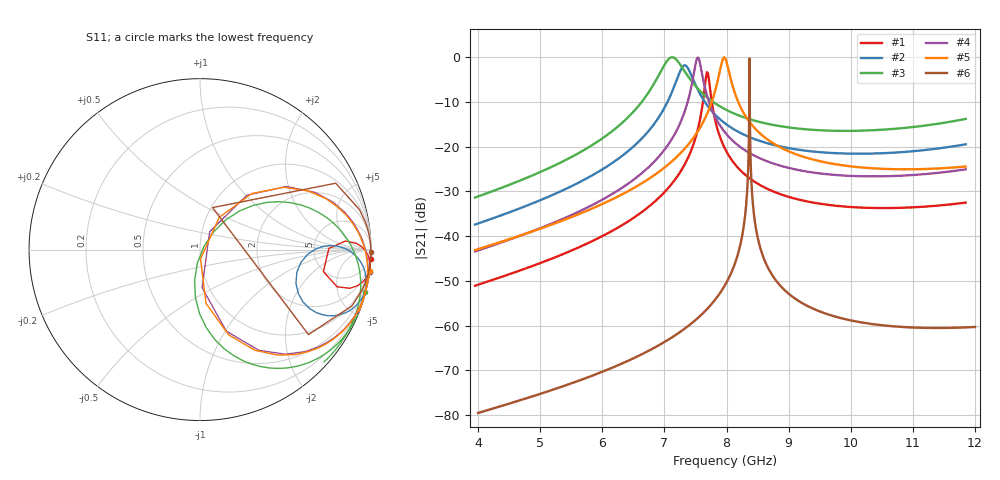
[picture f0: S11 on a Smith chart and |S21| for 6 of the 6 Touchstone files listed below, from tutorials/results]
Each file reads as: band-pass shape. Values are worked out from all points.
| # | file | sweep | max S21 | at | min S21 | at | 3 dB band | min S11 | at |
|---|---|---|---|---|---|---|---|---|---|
| 1 | cpw_7mm_cc20_50_hfss.s2p | 3.95 GHz to 11.85 GHz | -3.35 dB | 7.683 GHz | -51.1 dB | 3.95 GHz | 7.663 GHz-7.722 GHz | -2.7 dB | 7.683 GHz |
| 2 | cpw_7mm_cc50_100_hfss.s2p | 3.95 GHz to 11.85 GHz | -1.80 dB | 7.327 GHz | -37.4 dB | 3.95 GHz | 7.209 GHz-7.446 GHz | -4.7 dB | 7.327 GHz |
| 3 | cpw_7mm_cc100_hfss.s2p | 3.95 GHz to 11.85 GHz | 0.00 dB | 7.13 GHz | -31.4 dB | 3.95 GHz | 6.952 GHz-7.308 GHz | -30.1 dB | 7.13 GHz |
| 4 | cpw_7mm_ctog_hfss.s2p | 3.95 GHz to 11.85 GHz | -0.06 dB | 7.545 GHz | -43.4 dB | 3.95 GHz | 7.485 GHz-7.584 GHz | -18.5 dB | 7.545 GHz |
| 5 | cpw_7mm_hfss.s2p | 3.95 GHz to 11.85 GHz | -0.01 dB | 7.959 GHz | -43.1 dB | 3.95 GHz | 7.9 GHz-8.018 GHz | -25.2 dB | 7.959 GHz |
| 6 | fem_stand_in.s2p | 4 GHz to 12 GHz | -0.30 dB | 8.37 GHz | -79.5 dB | 4 GHz | 8.369 GHz-8.37 GHz | -11.8 dB | 8.37 GHz |
